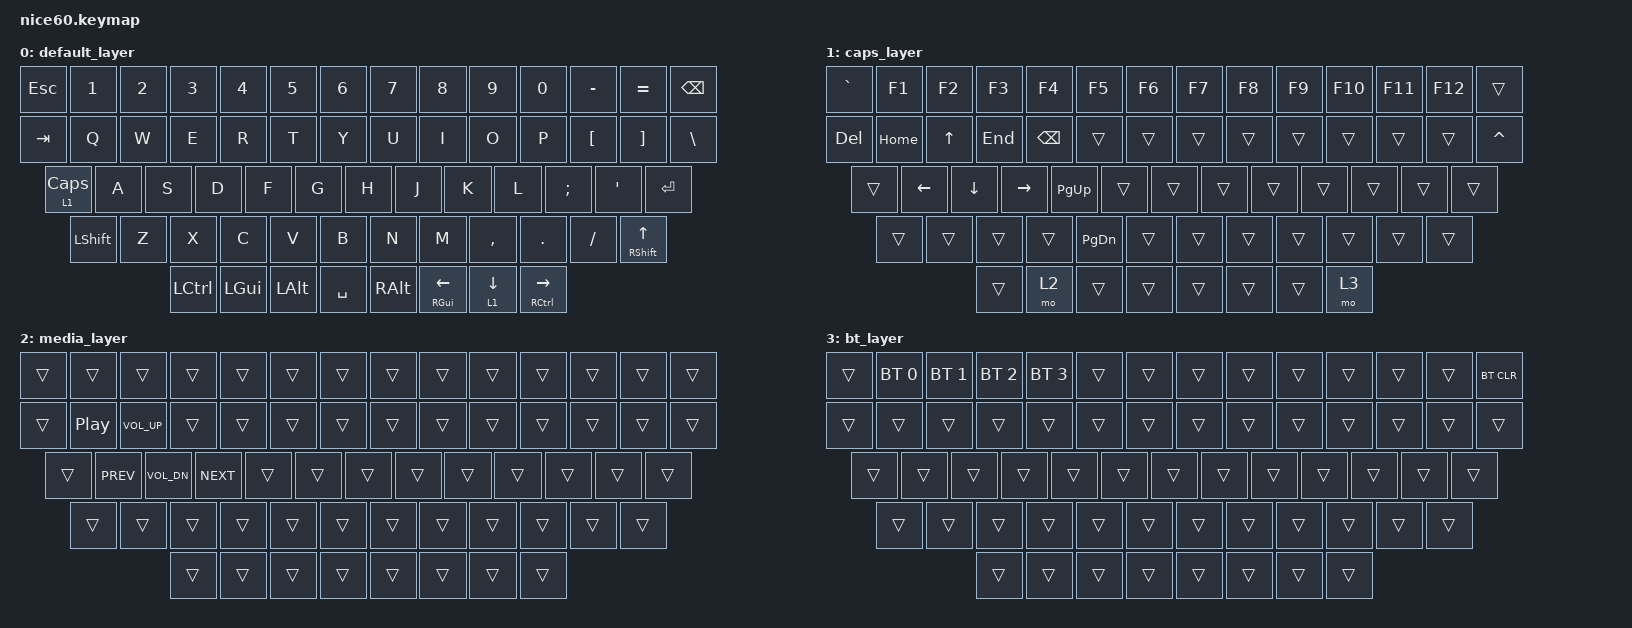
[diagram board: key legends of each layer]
/*
* Copyright (c) 2021 Nick Winans
*
* SPDX-License-Identifier: MIT
*
*============================================================================================================================================================
*【 ESC 】0≋ 【 1 】1≋ 【 2 】2≋ 【 3 】3≋ 【 4 】4≋ 【 5 】5≋ 【 6 】6≋ 【 7 】7≋ 【 8 】8≋ 【 9 】9≋ 【 0 】10≋ 【 - 】11≋ 【 = 】12≋ 【____BACKSPACE】13≋
*
*【 TAB 】14≋ 【 Q 】15≋ 【 W 】16≋ 【 E 】17≋ 【 R 】18≋ 【 T 】19≋ 【 Y 】20≋ 【 U 】21≋ 【 I 】22≋ 【 O 】23≋ 【 P 】24≋ 【 [ 】25≋ 【 ] 】26≋ 【 \ 】27≋
*
*【 CAPS 】28≋ 【 A 】29≋ 【 S 】30≋ 【 D 】31≋ 【 F 】32≋ 【 G 】33≋ 【 H 】34≋ 【 J 】35≋ 【 K 】36≋ 【 L 】37≋ 【 ; 】38≋ 【 ' 】39≋ 【_______RETURN】40≋
*
*【 SHIFT 】41≋ 【 Z 】42≋ 【 X 】43≋ 【 C 】44≋ 【 V 】45≋ 【 B 】46≋ 【 N 】47≋ 【 M 】48≋ 【 , 】49≋ 【 . 】50≋ 【 / 】51≋ 【__________________SHIFT】52≋
*
*【  CTRL  】53≋ 【  WIN  】54≋ 【  ALT  】55≋ 【_________________S_P_A_C_E_________________】56≋ 【  ALT  】57≋ 【  WIN  】58≋ 【  FN  】59≋ 【  CTRL  】60≋
*=============================================================================================================================================================
*/

#include <behaviors.dtsi>
#include <dt-bindings/zmk/keys.h>
#include <dt-bindings/zmk/bt.h>

/ {
keymap {
compatible = "zmk,keymap";

default_layer {
bindings = <
/*
【 ESC 】0≋ 【 1 】1≋ 【 2 】2≋ 【 3 】3≋ 【 4 】4≋ 【 5 】5≋ 【 6 】6≋ 【 7 】7≋ 【 8 】8≋ 【 9 】9≋ 【 0 】10≋ 【 - 】11≋ 【 = 】12≋ 【____BACKSPACE】13≋
*/ &kp ESC   &kp N1    &kp N2    &kp N3     &kp N4    &kp N5    &kp N6    &kp N7    &kp N8    &kp N9     &kp N0     &kp MINUS  &kp EQUAL       &kp BSPC
/*
【 TAB 】14≋ 【 Q 】15≋ 【 W 】16≋ 【 E 】17≋ 【 R 】18≋ 【 T 】19≋ 【 Y 】20≋ 【 U 】21≋ 【 I 】22≋ 【 O 】23≋ 【 P 】24≋ 【 [ 】25≋ 【 ] 】26≋ 【 \ 】27≋ 
*/ &kp TAB    &kp Q      &kp W      &kp E       &kp R      &kp T      &kp Y      &kp U      &kp I      &kp O      &kp P      &kp LBKT    &kp RBKT   &kp BSLH
/*
【 CAPS 】28≋ 【 A 】29≋ 【 S 】30≋ 【 D 】31≋ 【 F 】32≋ 【 G 】33≋ 【 H 】34≋ 【 J 】35≋ 【 K 】36≋ 【 L 】37≋ 【 ; 】38≋ 【 ' 】39≋ 【_______RETURN】40≋ 
*/&lt 1 CLCK   &kp A      &kp S      &kp D       &kp F      &kp G      &kp H      &kp J      &kp K       &kp L      &kp SEMI   &kp SQT            &kp RET
/*
【 SHIFT 】41≋ 【 Z 】42≋ 【 X 】43≋ 【 C 】44≋ 【 V 】45≋ 【 B 】46≋ 【 N 】47≋ 【 M 】48≋ 【 , 】49≋ 【 . 】50≋ 【 / 】51≋ 【__________________SHIFT】52≋
*/ &kp LSHFT     &kp Z      &kp X      &kp C       &kp V      &kp B      &kp N      &kp M      &kp COMMA   &kp DOT    &kp FSLH                  &mt RSHFT UP
/*
【  CTRL  】53≋ 【  WIN  】54≋ 【  ALT  】55≋ 【_________________S_P_A_C_E_________________】56≋ 【  ALT  】57≋ 【  WIN  】58≋ 【  FN  】59≋ 【  CTRL  】60≋
*/ &kp LCTRL     &kp LGUI       &kp LALT                          &kp SPACE                        &kp RALT       &mt RGUI LEFT  &lt 1 DOWN    &mt RCTRL  RIGHT
>;
};

caps_layer {
bindings = <
/*
【 ESC 】0≋ 【 1 】1≋ 【 2 】2≋ 【 3 】3≋ 【 4 】4≋ 【 5 】5≋ 【 6 】6≋ 【 7 】7≋ 【 8 】8≋ 【 9 】9≋ 【 0 】10≋ 【 - 】11≋ 【 = 】12≋ 【____BACKSPACE】13≋
*/ &kp GRAVE    &kp F1    &kp F2    &kp F3    &kp F4    &kp F5    &kp F6    &kp F7    &kp F8    &kp F9    &kp F10    &kp F11    &kp F12         &trans
/*
【 TAB 】14≋ 【 Q 】15≋ 【 W 】16≋ 【 E 】17≋ 【 R 】18≋ 【 T 】19≋ 【 Y 】20≋ 【 U 】21≋ 【 I 】22≋ 【 O 】23≋ 【 P 】24≋ 【 [ 】25≋ 【 ] 】26≋ 【 \ 】27≋ 
*/ &kp DEL    &kp HOME    &kp UP     &kp END    &kp BSPC   &trans     &trans     &trans     &trans     &trans      &trans     &trans     &trans     &kp CARET
/*
【 CAPS 】28≋ 【 A 】29≋ 【 S 】30≋ 【 D 】31≋ 【 F 】32≋ 【 G 】33≋ 【 H 】34≋ 【 J 】35≋ 【 K 】36≋ 【 L 】37≋ 【 ; 】38≋ 【 ' 】39≋ 【_______RETURN】40≋ 
*/ &trans      &kp LEFT    &kp DOWN   &kp RIGHT  &kp PG_UP  &trans     &trans     &trans     &trans      &trans     &trans     &trans             &trans
/*
【 SHIFT 】41≋ 【 Z 】42≋ 【 X 】43≋ 【 C 】44≋ 【 V 】45≋ 【 B 】46≋ 【 N 】47≋ 【 M 】48≋ 【 , 】49≋ 【 . 】50≋ 【 / 】51≋ 【__________________SHIFT】52≋
*/ &trans         &trans     &trans     &trans     &kp PG_DN  &trans     &trans     &trans      &trans     &trans     &trans                        &trans
/*
【  CTRL  】53≋ 【  WIN  】54≋ 【  ALT  】55≋ 【_________________S_P_A_C_E_________________】56≋ 【  ALT  】57≋ 【  WIN  】58≋ 【  FN  】59≋ 【  CTRL  】60≋
*/ &trans         &mo 2         &trans                           &trans                             &trans         &trans         &trans           &mo 3
>;
};

media_layer {
bindings = <
/*
【 ESC 】0≋ 【 1 】1≋ 【 2 】2≋ 【 3 】3≋ 【 4 】4≋ 【 5 】5≋ 【 6 】6≋ 【 7 】7≋ 【 8 】8≋ 【 9 】9≋ 【 0 】10≋ 【 - 】11≋ 【 = 】12≋ 【____BACKSPACE】13≋
*/ &trans    &trans     &trans    &trans    &trans    &trans    &trans    &trans    &trans    &trans    &trans      &trans     &trans          &trans
/*
【 TAB 】14≋ 【 Q 】15≋ 【 W 】16≋ 【 E 】17≋ 【 R 】18≋ 【 T 】19≋ 【 Y 】20≋ 【 U 】21≋ 【 I 】22≋ 【 O 】23≋ 【 P 】24≋ 【 [ 】25≋ 【 ] 】26≋ 【 \ 】27≋ 
*/ &trans     &kp C_PP  &kp C_VOL_UP  &trans    &trans     &trans     &trans     &trans     &trans     &trans      &trans     &trans     &trans     &trans
/*
【 CAPS 】28≋ 【 A 】29≋ 【 S 】30≋ 【 D 】31≋ 【 F 】32≋ 【 G 】33≋ 【 H 】34≋ 【 J 】35≋ 【 K 】36≋ 【 L 】37≋ 【 ; 】38≋ 【 ' 】39≋ 【_______RETURN】40≋ 
*/ &trans   &kp C_PREV &kp C_VOL_DN &kp C_NEXT &trans     &trans     &trans     &trans     &trans      &trans     &trans     &trans             &trans
/*
【 SHIFT 】41≋ 【 Z 】42≋ 【 X 】43≋ 【 C 】44≋ 【 V 】45≋ 【 B 】46≋ 【 N 】47≋ 【 M 】48≋ 【 , 】49≋ 【 . 】50≋ 【 / 】51≋ 【__________________SHIFT】52≋
*/ &trans       &trans     &trans     &trans     &trans      &trans     &trans     &trans     &trans     &trans     &trans                         &trans
/*
【  CTRL  】53≋ 【  WIN  】54≋ 【  ALT  】55≋ 【_________________S_P_A_C_E_________________】56≋ 【  ALT  】57≋ 【  WIN  】58≋ 【  FN  】59≋ 【  CTRL  】60≋
*/ &trans        &trans         &trans                            &trans                             &trans         &trans         &trans        &trans
>;
};

bt_layer {
bindings = <
/*
【 ESC 】0≋  【 1 】1≋       【 2 】2≋      【 3 】3≋       【 4 】4≋       【 5 】5≋ 【 6 】6≋ 【 7 】7≋ 【 8 】8≋ 【 9 】9≋ 【 0 】10≋ 【 - 】11≋ 【 = 】12≋ 【____BACKSPACE】13≋
*/ &trans    &bt BT_SEL 0    &bt BT_SEL 1  &bt BT_SEL 2   &bt BT_SEL 3    &trans   &trans   &trans   &trans    &trans    &trans    &trans    &trans       &bt BT_CLR
/*
【 TAB 】14≋ 【 Q 】15≋ 【 W 】16≋ 【 E 】17≋ 【 R 】18≋ 【 T 】19≋ 【 Y 】20≋ 【 U 】21≋ 【 I 】22≋ 【 O 】23≋ 【 P 】24≋ 【 [ 】25≋ 【 ] 】26≋ 【 \ 】27≋ 
*/ &trans     &trans    &trans    &trans    &trans     &trans     &trans     &trans     &trans     &trans      &trans     &trans     &trans     &trans
/*
【 CAPS 】28≋ 【 A 】29≋ 【 S 】30≋ 【 D 】31≋ 【 F 】32≋ 【 G 】33≋ 【 H 】34≋ 【 J 】35≋ 【 K 】36≋ 【 L 】37≋ 【 ; 】38≋ 【 ' 】39≋ 【_______RETURN】40≋ 
*/ &trans     &trans    &trans     &trans    &trans     &trans     &trans     &trans     &trans      &trans     &trans     &trans             &trans
/*
【 SHIFT 】41≋ 【 Z 】42≋ 【 X 】43≋ 【 C 】44≋ 【 V 】45≋ 【 B 】46≋ 【 N 】47≋ 【 M 】48≋ 【 , 】49≋ 【 . 】50≋ 【 / 】51≋ 【__________________SHIFT】52≋
*/ &trans       &trans     &trans     &trans     &trans      &trans     &trans     &trans     &trans     &trans     &trans                         &trans
/*
【  CTRL  】53≋ 【  WIN  】54≋ 【  ALT  】55≋ 【_________________S_P_A_C_E_________________】56≋ 【  ALT  】57≋ 【  WIN  】58≋ 【  FN  】59≋ 【  CTRL  】60≋
*/ &trans        &trans         &trans                            &trans                             &trans         &trans         &trans        &trans
>;
};

};

};
